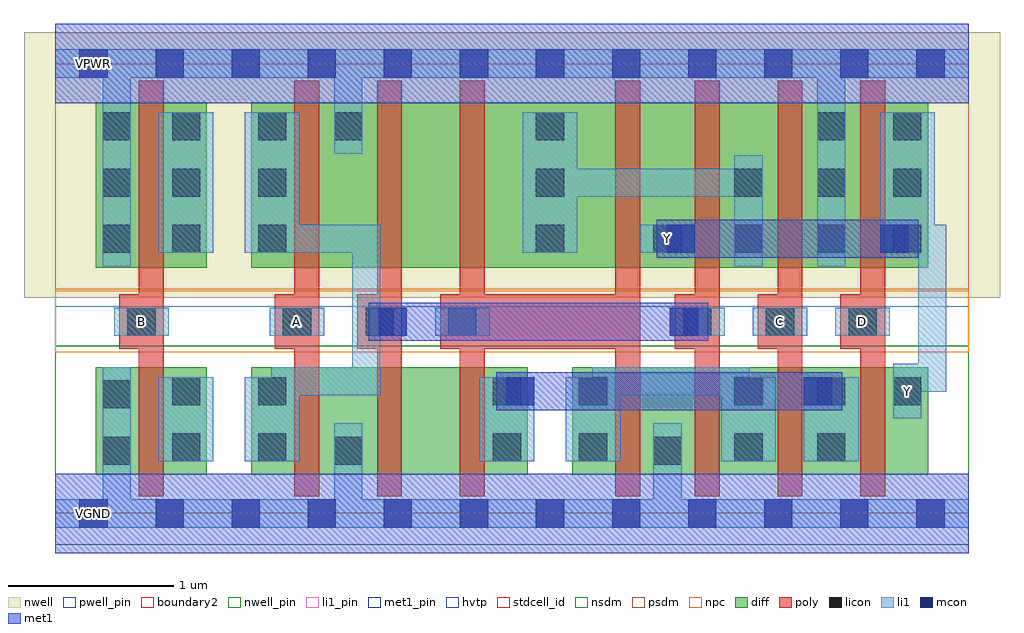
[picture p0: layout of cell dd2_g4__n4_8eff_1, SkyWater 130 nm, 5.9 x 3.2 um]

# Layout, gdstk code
import gdstk
lib = gdstk.Library(unit=1e-6, precision=1e-09)
def R(c, l, rs):  # rectangles x0, y0, x1, y1
    for r in rs: c.add(gdstk.rectangle(r[:2], r[2:], *l))
def A(c, l, x, y, w, h, nx, ny, dx, dy):  # array of equal rectangles
    R(c, l, [(x+i*dx, y+j*dy, x+i*dx+w, y+j*dy+h) for i in range(nx) for j in range(ny)])
nwell_pin = (64, 16)
nwell = (64, 20)
diff = (65, 20)
poly = (66, 20)
licon = (66, 44)
li1_pin = (67, 16)
li1 = (67, 20)
mcon = (67, 44)
met1_pin = (68, 16)
met1 = (68, 20)
hvtp = (78, 44)
stdcell_id = (81, 4)
nsdm = (93, 44)
psdm = (94, 20)
npc = (95, 20)
pwell_pin = (122, 16)
boundary2 = (236, 0)

dd2_g4__n4_8eff_1 = lib.new_cell('dd2_g4__n4_8eff_1')
R(dd2_g4__n4_8eff_1, nwell_pin, [(0.145,2.635,0.315,2.805)])
R(dd2_g4__n4_8eff_1, nwell, [(-0.19,1.305,5.71,2.91)])
R(dd2_g4__n4_8eff_1, diff, [(0.245,0.235,0.915,0.885), (1.185,0.235,1.77,0.885), (1.77,0.235,2.27,0.885), (2.27,0.235,2.855,0.885), (3.125,0.235,3.7,0.885), (3.7,0.235,4.19,0.885), (4.19,0.235,4.69,0.885), (4.69,0.235,5.275,0.885), (0.245,1.485,0.915,2.485), (1.185,1.485,1.77,2.485), (1.77,1.485,2.27,2.485), (2.27,1.485,2.99,2.485), (2.99,1.485,3.7,2.485), (3.7,1.485,4.19,2.485), (4.19,1.485,4.69,2.485), (4.69,1.485,5.275,2.485)])
A(dd2_g4__n4_8eff_1, poly, 1.445, 0.105, 0.15, 2.51, 3, 1, 0.5, 0)
A(dd2_g4__n4_8eff_1, poly, 3.865, 0.105, 0.15, 2.51, 3, 1, 0.5, 0)
A(dd2_g4__n4_8eff_1, poly, 1.325, 0.995, 0.27, 0.33, 3, 1, 0.5, 0)
A(dd2_g4__n4_8eff_1, poly, 3.745, 0.995, 0.27, 0.33, 3, 1, 0.5, 0)
R(dd2_g4__n4_8eff_1, poly, [(0.505,0.105,0.655,2.615), (3.385,0.105,3.535,2.615), (0.385,0.995,0.655,1.325), (2.445,0.995,3.535,1.325)])
A(dd2_g4__n4_8eff_1, licon, 1.375, 1.075, 0.17, 0.17, 3, 1, 0.5, 0)
A(dd2_g4__n4_8eff_1, licon, 3.795, 1.075, 0.17, 0.17, 3, 1, 0.5, 0)
A(dd2_g4__n4_8eff_1, licon, 0.285, 1.575, 0.17, 0.17, 1, 3, 0, 0.34)
A(dd2_g4__n4_8eff_1, licon, 0.705, 1.575, 0.17, 0.17, 1, 3, 0, 0.34)
A(dd2_g4__n4_8eff_1, licon, 1.225, 1.575, 0.17, 0.17, 1, 3, 0, 0.34)
A(dd2_g4__n4_8eff_1, licon, 2.905, 1.575, 0.17, 0.17, 1, 3, 0, 0.34)
A(dd2_g4__n4_8eff_1, licon, 4.605, 1.575, 0.17, 0.17, 1, 3, 0, 0.34)
A(dd2_g4__n4_8eff_1, licon, 5.065, 1.575, 0.17, 0.17, 1, 3, 0, 0.34)
R(dd2_g4__n4_8eff_1, licon, [(0.285,0.295,0.455,0.465), (1.685,0.295,1.855,0.465), (3.615,0.295,3.785,0.465), (0.705,0.315,0.875,0.485), (1.225,0.315,1.395,0.485), (2.645,0.315,2.815,0.485), (3.165,0.315,3.335,0.485), (4.105,0.315,4.275,0.485), (4.605,0.315,4.775,0.485), (0.285,0.635,0.455,0.805), (0.705,0.655,0.875,0.825), (1.225,0.655,1.395,0.825), (2.645,0.655,2.815,0.825), (3.165,0.655,3.335,0.825), (4.105,0.655,4.275,0.825), (4.605,0.655,4.775,0.825), (5.065,0.655,5.235,0.825), (0.435,1.075,0.605,1.245), (3.615,1.575,3.785,1.745), (4.105,1.575,4.275,1.745), (4.105,1.915,4.275,2.085), (1.685,2.255,1.855,2.425)])
R(dd2_g4__n4_8eff_1, li1_pin, [(5.065,0.655,5.235,0.825), (0.435,1.075,0.605,1.245), (1.375,1.075,1.545,1.245), (4.295,1.075,4.465,1.245), (4.795,1.075,4.965,1.245), (3.615,1.575,3.785,1.745)])
A(dd2_g4__n4_8eff_1, li1, 1.295, 1.075, 0.33, 0.17, 3, 1, 0.5, 0)
A(dd2_g4__n4_8eff_1, li1, 3.715, 1.075, 0.33, 0.17, 3, 1, 0.5, 0)
R(dd2_g4__n4_8eff_1, li1, [(0,-0.085,5.52,0.085), (0.285,-0.085,0.455,0.545), (1.685,-0.085,1.855,0.545), (3.615,-0.085,3.785,0.545), (0.285,0.295,0.455,0.885), (0.625,0.315,0.955,0.825), (1.145,0.315,1.475,0.825), (2.565,0.315,2.895,0.825), (3.085,0.315,3.415,0.825), (4.025,0.315,4.355,0.825), (4.525,0.315,4.855,0.825), (5.065,0.575,5.235,0.905), (0.625,0.655,0.955,0.825), (1.145,0.655,1.475,0.825), (1.305,0.655,1.475,0.885), (2.565,0.655,2.895,0.825), (3.085,0.655,3.415,0.825), (3.245,0.655,3.415,0.885), (4.025,0.655,4.355,0.825), (4.025,0.655,4.195,0.885), (4.525,0.655,4.855,0.825), (1.305,0.715,1.965,0.885), (1.795,0.715,1.965,1.245), (3.245,0.715,4.195,0.885), (5.065,0.735,5.385,0.905), (5.215,0.735,5.385,1.745), (0.355,1.075,0.685,1.245), (1.795,1.075,1.965,1.745), (0.285,1.495,0.455,2.085), (4.105,1.495,4.275,1.825), (4.605,1.495,4.775,2.085), (0.625,1.575,0.955,1.745), (0.625,1.575,0.955,2.085), (1.145,1.575,1.475,1.745), (1.145,1.575,1.475,2.085), (1.305,1.575,1.965,1.745), (2.825,1.575,3.155,1.745), (2.825,1.575,3.155,2.085), (2.985,1.575,3.155,2.085), (3.535,1.575,3.865,1.745), (4.105,1.575,4.275,2.165), (4.985,1.575,5.315,1.745), (4.985,1.575,5.315,2.085), (5.145,1.575,5.385,1.745), (4.105,1.655,4.275,2.085), (4.105,1.825,4.275,1.915), (4.105,1.825,4.275,1.915), (4.105,1.825,4.275,1.915), (4.105,1.825,4.275,1.915), (0.285,1.835,0.455,2.425), (4.605,1.835,4.775,2.425), (0.625,1.915,0.955,2.425), (1.145,1.915,1.475,2.425), (2.825,1.915,3.155,2.425), (2.985,1.915,4.275,2.085), (4.985,1.915,5.315,2.425), (0.285,2.085,0.455,2.175), (0.285,2.085,0.455,2.175), (0.285,2.085,0.455,2.175), (0.285,2.085,0.455,2.175), (4.605,2.085,4.775,2.175), (4.605,2.085,4.775,2.175), (4.605,2.085,4.775,2.175), (4.605,2.085,4.775,2.175), (0.285,2.175,0.455,2.805), (1.685,2.175,1.855,2.805), (4.605,2.175,4.775,2.805), (0,2.635,5.52,2.805)])
A(dd2_g4__n4_8eff_1, mcon, 0.145, -0.085, 0.17, 0.17, 12, 2, 0.46, 2.72)
R(dd2_g4__n4_8eff_1, mcon, [(2.725,0.655,2.895,0.825), (4.525,0.655,4.695,0.825), (1.955,1.075,2.125,1.245), (3.715,1.075,3.885,1.245), (3.695,1.575,3.865,1.745), (4.985,1.575,5.155,1.745)])
R(dd2_g4__n4_8eff_1, met1_pin, [(0.145,-0.085,0.315,0.085), (0.145,2.635,0.315,2.805)])
R(dd2_g4__n4_8eff_1, met1, [(0,-0.24,5.52,0.24), (2.665,0.625,2.955,0.855), (2.695,0.625,4.725,0.855), (4.465,0.625,4.755,0.855), (1.895,1.045,2.185,1.275), (1.925,1.045,3.915,1.275), (3.655,1.045,3.945,1.275), (3.635,1.545,3.925,1.775), (3.665,1.545,5.185,1.775), (4.925,1.545,5.215,1.775), (0,2.48,5.52,2.96)])
R(dd2_g4__n4_8eff_1, hvtp, [(0,1.25,5.52,2.72)])
R(dd2_g4__n4_8eff_1, stdcell_id, [(0,0,5.52,2.72)])
R(dd2_g4__n4_8eff_1, nsdm, [(0,-0.19,5.52,1.015)])
R(dd2_g4__n4_8eff_1, psdm, [(0,1.355,5.52,2.91)])
R(dd2_g4__n4_8eff_1, npc, [(0,0.975,5.52,1.345)])
R(dd2_g4__n4_8eff_1, pwell_pin, [(0.145,-0.085,0.315,0.085)])
R(dd2_g4__n4_8eff_1, boundary2, [(0,0,5.52,2.72)])
dd2_g4__n4_8eff_1.add(gdstk.Label('A', (1.46,1.16), layer=67, texttype=5))
dd2_g4__n4_8eff_1.add(gdstk.Label('B', (0.52,1.16), layer=67, texttype=5))
dd2_g4__n4_8eff_1.add(gdstk.Label('C', (4.38,1.16), layer=67, texttype=5))
dd2_g4__n4_8eff_1.add(gdstk.Label('D', (4.88,1.16), layer=67, texttype=5))
dd2_g4__n4_8eff_1.add(gdstk.Label('Y', (5.15,0.74), layer=67, texttype=5))
dd2_g4__n4_8eff_1.add(gdstk.Label('Y', (3.7,1.66), layer=67, texttype=5))
dd2_g4__n4_8eff_1.add(gdstk.Label('VGND', (0.23,0), layer=68, texttype=5))
dd2_g4__n4_8eff_1.add(gdstk.Label('VPWR', (0.23,2.72), layer=68, texttype=5))
dd2_g4__n4_8eff_1.add(gdstk.Label('VPB', (0.23,2.72), layer=64, texttype=5))
dd2_g4__n4_8eff_1.add(gdstk.Label('VNB', (0.23,0), layer=64, texttype=59))

lib.write_gds('dd2_g4__n4_8eff_1.gds')
